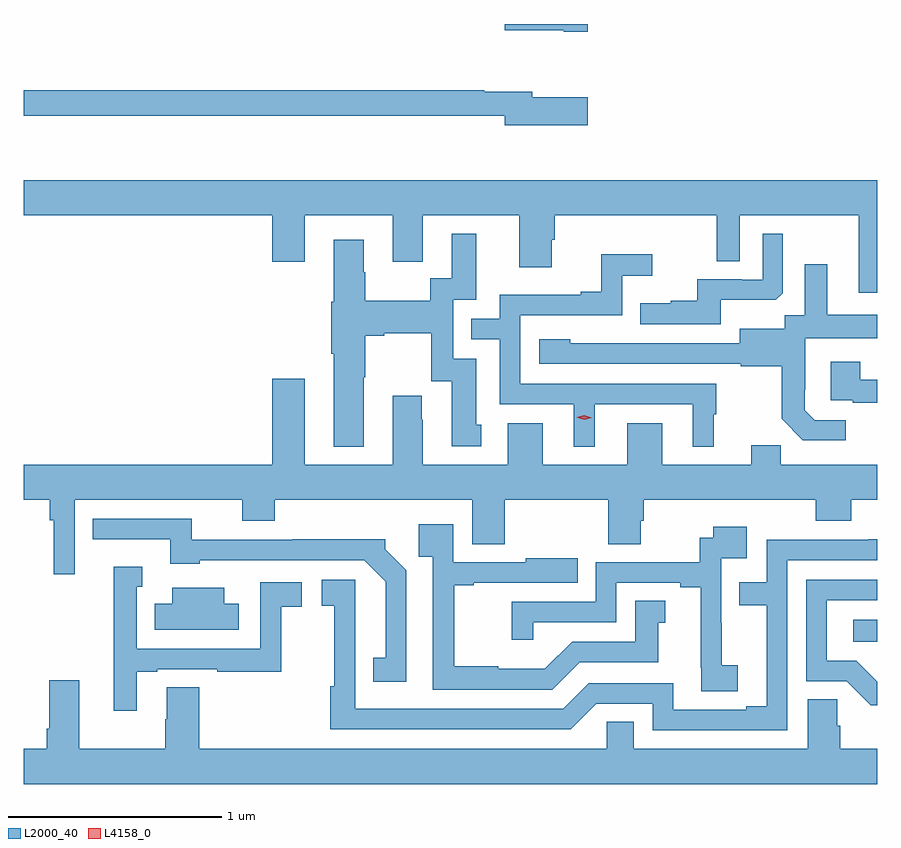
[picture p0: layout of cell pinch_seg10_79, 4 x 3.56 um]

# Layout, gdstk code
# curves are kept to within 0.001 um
import gdstk
lib = gdstk.Library(unit=1e-6, precision=1e-09)
def R(c, l, rs):  # rectangles x0, y0, x1, y1
    for r in rs: c.add(gdstk.rectangle(r[:2], r[2:], *l))
def P(c, l, *ps):  # polygons
    for p in ps: c.add(gdstk.Polygon(p, *l))
L2000_40 = (2000, 40)
L4158_0 = (4158, 0)

pinch_seg10_79 = lib.new_cell('pinch_seg10_79')
R(pinch_seg10_79, L2000_40, [(809.445,1312.97,809.558,1313.074)])
P(pinch_seg10_79, L2000_40, [(808.201,1315.865),(807.812,1315.865),(807.812,1315.835),(808.088,1315.835),(808.088,1315.828),(808.201,1315.828)],
  [(808.201,1315.521),(807.94,1315.521),(807.94,1315.547),(807.716,1315.547),(807.716,1315.555),(805.558,1315.555),(805.558,1315.434),(807.812,1315.434),(807.812,1315.391),(808.201,1315.391)],
  [(809.558,1315.132),(805.558,1315.132),(805.558,1314.968),(806.723,1314.968),(806.723,1314.75),(806.875,1314.75),(806.875,1314.968),(807.287,1314.968),(807.287,1314.75),(807.427,1314.75),(807.427,1314.968),(807.881,1314.968),(807.881,1314.726),(808.033,1314.726),(808.033,1314.855),(808.046,1314.855),(808.046,1314.968),(808.806,1314.968),(808.806,1314.754),(808.914,1314.754),(808.914,1314.968),(809.471,1314.968),(809.471,1314.606),(809.558,1314.606)],
  [(808.825,1314.572),(809.083,1314.572),(809.115,1314.603),(809.115,1314.883),(809.022,1314.883),(809.022,1314.666),(808.922,1314.666),(808.922,1314.669),(808.715,1314.669),(808.715,1314.568),(808.591,1314.568),(808.591,1314.556),(808.447,1314.556),(808.447,1314.459),(808.825,1314.459)],
  [(807.151,1314.211),(807.159,1314.211),(807.159,1314.404),(807.247,1314.404),(807.247,1314.416),(807.467,1314.416),(807.467,1314.192),(807.563,1314.192),(807.563,1313.886),(807.703,1313.886),(807.703,1313.988),(807.679,1313.988),(807.679,1314.297),(807.57,1314.297),(807.57,1314.573),(807.679,1314.573),(807.679,1314.883),(807.563,1314.883),(807.563,1314.674),(807.462,1314.674),(807.462,1314.568),(807.159,1314.568),(807.159,1314.702),(807.151,1314.702),(807.151,1314.853),(807.011,1314.853),(807.011,1314.564),(806.999,1314.564),(806.999,1314.32),(807.011,1314.32),(807.011,1313.885),(807.151,1313.885)],
  [(808.234,1314.084),(808.694,1314.084),(808.694,1313.885),(808.792,1313.885),(808.792,1314.036),(808.804,1314.036),(808.804,1314.18),(807.885,1314.18),(807.885,1314.501),(808.362,1314.501),(808.362,1314.686),(808.504,1314.686),(808.504,1314.785),(808.264,1314.785),(808.264,1314.61),(808.169,1314.61),(808.169,1314.597),(807.789,1314.597),(807.789,1314.483),(807.655,1314.483),(807.655,1314.387),(807.789,1314.387),(807.789,1314.084),(808.136,1314.084),(808.136,1313.885),(808.234,1313.885)],
  [(809.41,1314.009),(809.265,1314.009),(809.218,1314.056),(809.218,1314.151),(809.22,1314.151),(809.22,1314.392),(809.558,1314.392),(809.558,1314.502),(809.323,1314.502),(809.323,1314.739),(809.219,1314.739),(809.219,1314.5),(809.124,1314.5),(809.124,1314.436),(808.913,1314.436),(808.913,1314.369),(808.119,1314.37),(808.119,1314.388),(807.975,1314.388),(807.975,1314.273),(808.917,1314.273),(808.917,1314.261),(809.109,1314.261),(809.109,1314.015),(809.209,1313.915),(809.41,1313.915)],
  [(809.558,1314.198),(809.479,1314.198),(809.479,1314.283),(809.339,1314.283),(809.339,1314.102),(809.443,1314.102),(809.443,1314.09),(809.558,1314.09)],
  [(805.797,1313.636),(806.582,1313.636),(806.582,1313.537),(806.735,1313.537),(806.735,1313.636),(807.659,1313.636),(807.659,1313.428),(807.812,1313.428),(807.812,1313.636),(808.298,1313.636),(808.298,1313.428),(808.45,1313.428),(808.45,1313.538),(808.463,1313.538),(808.463,1313.636),(809.27,1313.636),(809.27,1313.537),(809.435,1313.537),(809.435,1313.636),(809.558,1313.636),(809.558,1313.8),(809.105,1313.8),(809.105,1313.891),(808.967,1313.891),(808.967,1313.8),(808.549,1313.8),(808.549,1313.995),(808.385,1313.995),(808.385,1313.8),(807.991,1313.8),(807.991,1313.995),(807.827,1313.995),(807.827,1313.8),(807.427,1313.8),(807.427,1314.011),(807.424,1314.011),(807.424,1314.124),(807.287,1314.124),(807.287,1313.8),(806.875,1313.8),(806.875,1314.202),(806.723,1314.202),(806.723,1313.8),(805.558,1313.8),(805.558,1313.636),(805.681,1313.636),(805.681,1313.54),(805.7,1313.54),(805.7,1313.286),(805.797,1313.286)],
  [(807.351,1313.306),(807.252,1313.405),(807.252,1313.45),(806.818,1313.45),(806.818,1313.448),(806.346,1313.448),(806.346,1313.547),(805.882,1313.547),(805.882,1313.451),(806.246,1313.451),(806.246,1313.336),(806.382,1313.336),(806.382,1313.352),(807.153,1313.352),(807.254,1313.251),(807.254,1312.895),(807.196,1312.895),(807.196,1312.782),(807.351,1312.782)],
  [(808.164,1312.875),(808.531,1312.875),(808.531,1313.059),(808.564,1313.059),(808.564,1313.162),(808.424,1313.162),(808.424,1312.971),(808.128,1312.971),(808,1312.843),(807.782,1312.843),(807.782,1312.855),(807.575,1312.855),(807.575,1313.235),(807.667,1313.235),(807.667,1313.247),(808.154,1313.247),(808.154,1313.362),(807.911,1313.362),(807.911,1313.343),(807.57,1313.343),(807.57,1313.521),(807.409,1313.521),(807.409,1313.369),(807.474,1313.369),(807.474,1312.746),(808.035,1312.746)],
  [(808.903,1312.86),(808.829,1312.86),(808.829,1313.057),(808.827,1313.057),(808.827,1313.361),(808.945,1313.361),(808.945,1313.509),(808.789,1313.509),(808.789,1313.457),(808.726,1313.457),(808.726,1313.343),(808.239,1313.343),(808.239,1313.157),(807.844,1313.157),(807.844,1312.98),(807.945,1312.98),(807.945,1313.061),(808.335,1313.061),(808.335,1313.247),(808.634,1313.247),(808.634,1313.227),(808.73,1313.227),(808.73,1312.849),(808.732,1312.849),(808.732,1312.738),(808.903,1312.738)],
  [(809.136,1313.352),(809.558,1313.352),(809.558,1313.45),(809.518,1313.45),(809.518,1313.448),(809.04,1313.448),(809.04,1313.25),(808.912,1313.25),(808.912,1313.142),(809.039,1313.142),(809.039,1312.668),(808.943,1312.668),(808.943,1312.653),(808.602,1312.653),(808.602,1312.776),(808.206,1312.776),(808.086,1312.656),(807.111,1312.656),(807.112,1313.26),(806.955,1313.26),(806.955,1313.139),(807.013,1313.139),(807.013,1312.763),(806.995,1312.763),(806.995,1312.56),(808.122,1312.56),(808.242,1312.68),(808.506,1312.68),(808.506,1312.557),(809.136,1312.557)],
  [(806.089,1312.83),(806.185,1312.83),(806.185,1312.842),(806.464,1312.842),(806.464,1312.83),(806.766,1312.83),(806.766,1313.134),(806.86,1313.134),(806.86,1313.25),(806.667,1313.25),(806.667,1312.938),(806.088,1312.938),(806.088,1313.229),(806.113,1313.229),(806.113,1313.323),(805.98,1313.323),(805.98,1312.891),(805.979,1312.891),(805.979,1312.647),(806.089,1312.647)],
  [(809.558,1312.783),(809.46,1312.881),(809.322,1312.881),(809.322,1313.166),(809.558,1313.166),(809.558,1313.262),(809.226,1313.262),(809.226,1312.785),(809.415,1312.785),(809.528,1312.673),(809.558,1312.673)],
  [(806.566,1313.149),(806.497,1313.149),(806.497,1313.224),(806.255,1313.224),(806.255,1313.149),(806.173,1313.149),(806.173,1313.027),(806.566,1313.027)],
  [(809.558,1312.468),(809.384,1312.468),(809.384,1312.577),(809.37,1312.577),(809.37,1312.7),(809.231,1312.7),(809.231,1312.468),(808.417,1312.468),(808.417,1312.595),(808.29,1312.595),(808.29,1312.468),(806.381,1312.468),(806.381,1312.757),(806.228,1312.757),(806.228,1312.607),(806.221,1312.607),(806.221,1312.468),(805.819,1312.468),(805.819,1312.789),(805.679,1312.789),(805.679,1312.564),(805.667,1312.564),(805.667,1312.468),(805.558,1312.468),(805.558,1312.304),(809.558,1312.304)])
P(pinch_seg10_79, L4158_0, [(808.185,1314.011),(808.149,1314.022),(808.149,1314.022),(808.149,1314.022),(808.185,1314.031),(808.221,1314.02),(808.221,1314.019),(808.221,1314.019)])

lib.write_gds('pinch_seg10_79.gds')
